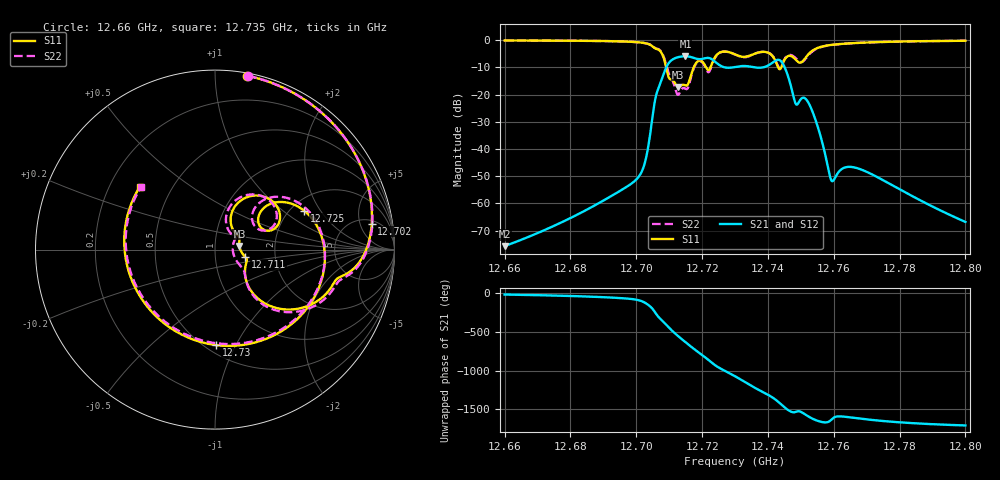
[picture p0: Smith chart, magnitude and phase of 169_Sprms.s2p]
! TOUCHSTONE file generated by CST MICROWAVE STUDIO
! Date and time: Wed Jul 31 19:24:41 2024
! Project name: WaveGuide_BPF-Ver4.1_U-shape_Ku_T3_C4_CWA_2.cst
! Parameters = {cavity_h=16; cavity_l0=10; cavity_l1=15.1649; cavity_l2=16.8351; cavity_l3=17.0999; cavity_l4=17.2529; cavity_l5=17.1519; cavity_l6=17.6063; cavity_r=2.5; cavity_screw_l=0.5; cavity_screw_r=1.5; cavity_w=8; iris_h00=0; iris_h01=8.8106; iris_h112=0; iris_h12=5.5925; iris_h211=3.6618; 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
! Header version: 2018
! Port assignment regex: !\s*Touchstone port\s*([0-9]+)\s*=\s*(CST MWS port|CST DS port)\s*([0-9]+|Zmin|Zmax)\s*\(\"(.*)\"\)(\s*mode\s*([0-9]+))?.*
! Touchstone port assignment:
! Touchstone port 1 = CST MWS port 1 ("")
! Touchstone port 2 = CST MWS port 2 ("")
# GHz S RI R 50
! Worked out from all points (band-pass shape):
!   5001 points, 12.66 GHz to 12.8 GHz, reference 50 ohm
!   highest |S21| = -5.96 dB at 12.715 GHz (marker M1); lowest = -75.7 dB at 12.66 GHz (marker M2)
!   |S21| within 3 dB of the highest: 12.70957 GHz to 12.72502 GHz (15.45 MHz wide, 0.121 % of centre); 12.74059 GHz to 12.74468 GHz (4.094 MHz wide, 0.0321 % of centre)
!   lowest |S11| = -17.2 dB at 12.713 GHz (marker M3), VSWR 1.32, Z = 65.7 + j2.65 ohm
!   |S11| at or under -10 dB: 12.70908 GHz to 12.71746 GHz (8.377 MHz wide, 0.0659 % of centre); 12.72121 GHz to 12.72255 GHz (1.344 MHz wide, 0.0106 % of centre); 12.74309 GHz to 12.74406 GHz (964.8 kHz wide, 0.00757 % of centre)
!   |S22| runs from -20.1 to -0.1 dB; largest |S21 - S12| = 1e-09
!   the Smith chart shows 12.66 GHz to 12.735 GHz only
!   S11 on the Smith chart (normalised r, x): 12.66 GHz: 0.02, +1.20; 12.702 GHz: 5.85, +7.83; 12.711 GHz: 1.40, -0.12; 12.725 GHz: 2.35, +1.44; 12.73 GHz: 0.56, -0.84; 12.735 GHz: 0.33, +0.33
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12.66  0.1788 0.9691  0.000159 -4.05e-05  0.000159 -4.05e-05  0.1846 0.968
12.68335  0.5161 0.8237  0.000542 -0.000414  0.000542 -0.000414  0.5222 0.8197
12.70236  0.8734 0.1448  -0.00201 -0.00453  -0.00201 -0.00453  0.8761 0.1367
12.70668  0.6323 -0.2307  0.064 0.1105  0.064 0.1105  0.6405 -0.2442
12.71146  0.1675 -0.04  -0.3743 -0.2603  -0.3743 -0.2603  0.1322 -0.0791
12.71278  0.1362 0.0198  -0.4731 0.1189  -0.4731 0.1189  0.0987 0.00939
12.71494  0.1202 0.0843  -0.00421 0.5036  -0.00421 0.5036  0.1019 0.0771
12.71746  0.1505 0.2781  0.4697 0.0372  0.4697 0.0372  0.1183 0.2773
12.72037  0.3549 0.1458  0.0223 -0.4557  0.0223 -0.4557  0.3376 0.1517
12.72454  0.4968 0.2169  -0.2645 0.2656  -0.2645 0.2656  0.4674 0.2591
12.73  0.1148 -0.5352  0.3165 0.0513  0.3165 0.0513  0.1513 -0.5216
12.73048  0.00626 -0.532  0.3242 -0.0125  0.3242 -0.0125  0.0414 -0.5251
12.73538  -0.4194 0.349  -0.185 -0.2614  -0.185 -0.2614  -0.4112 0.3506
12.74089  0.4635 0.2898  -0.1089 0.3501  -0.1089 0.3501  0.4719 0.2872
12.7438  0.2817 0.0956  0.4109 0.0854  0.4109 0.0854  0.3021 0.0932
12.74831  0.0336 -0.4457  -0.00509 -0.0704  -0.00509 -0.0704  0.0749 -0.4687
12.75064  -0.3819 0.1563  -0.0247 -0.084  -0.0247 -0.084  -0.3962 0.0838
12.75335  0.2666 0.5686  -0.0519 -0.00367  -0.0519 -0.00367  0.2235 0.5662
12.75943  0.7342 -0.3619  -0.00256 0.0003  -0.00256 0.0003  0.7287 -0.3663
12.76632  0.1277 -0.8731  -0.00451 -0.000785  -0.00451 -0.000785  0.1131 -0.8752
12.77668  -0.6083 -0.7053  -0.00189 0.0014  -0.00189 0.0014  -0.6188 -0.6967
12.8  -0.9721 0.0204  -1.79e-05 0.000457  -1.79e-05 0.000457  -0.9721 0.0297
